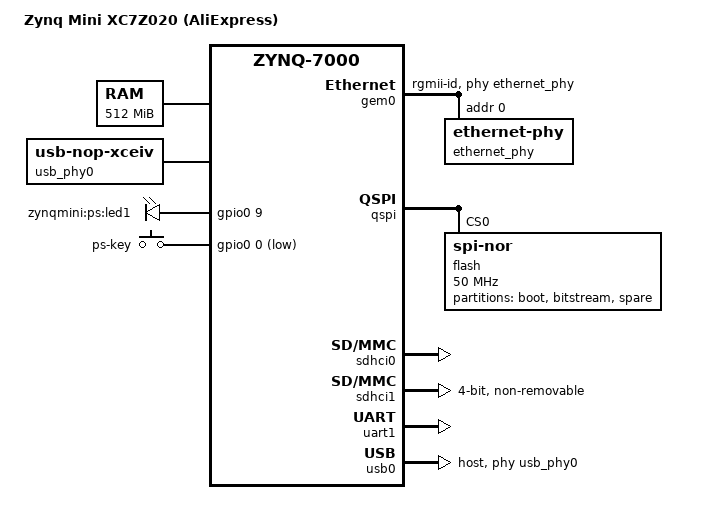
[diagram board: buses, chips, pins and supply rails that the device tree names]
// SPDX-License-Identifier: GPL-2.0
/*
 * Device tree for the AliExpress "Zynq Mini" XC7Z020-CLG400 board.
 *
 * Hand-adapted from arch/arm/boot/dts/xilinx/zynq-zed.dts (Avnet ZedBoard):
 * same SoC, same 512 MB DDR3, same GEM0-RGMII / UART1-console layout. Deltas
 * for this board:
 *   - on-board eMMC on SD1 (sdhci1), 4-bit, non-removable
 *   - Ethernet PHY is an RTL8211E (addr 0) instead of the ZedBoard's 88E1518
 *   - PS LED on MIO9, PS button on MIO0
 *   - axi_regs (this project's VHDL AXI slave) comes from the PL bundle's overlay
 *
 * MIO map: doc/mio_map.md.  PS7 config: scripts/ps7_base_config.tcl.
 * Build/boot instructions: doc/linux_build.md.
 */
/dts-v1/;
/*
 * Buildroot's BR2_LINUX_KERNEL_CUSTOM_DTS_PATH copies this file to
 * arch/arm/boot/dts/ (flat), so include the base dtsi via its vendor subdir.
 */
#include "xilinx/zynq-7000.dtsi"

/ {
	model = "Zynq Mini XC7Z020 (AliExpress)";
	compatible = "aliexpress,zynq-mini", "xlnx,zynq-7000";

	aliases {
		ethernet0 = &gem0;
		serial0 = &uart1;
		spi0 = &qspi;
		mmc0 = &sdhci0;		/* microSD  */
		mmc1 = &sdhci1;		/* eMMC     */
	};

	memory@0 {
		device_type = "memory";
		reg = <0x0 0x20000000>;		/* 512 MB, MT41J256M16 */
	};

	chosen {
		/*
		 * Used when U-Boot boots without bootargs (the JTAG/bootm path).
		 * SD boot takes bootargs from extlinux.conf instead - build-linux.sh
		 * appends the same uio_pdrv_genirq.of_id there. That argument binds
		 * compatible = "generic-uio" nodes (axi_regs) to /dev/uioN.
		 */
		bootargs = "console=ttyPS0,115200 earlycon uio_pdrv_genirq.of_id=generic-uio";
		stdout-path = "serial0:115200n8";
	};

	usb_phy0: phy0 {
		compatible = "usb-nop-xceiv";
		#phy-cells = <0>;
	};

	leds {
		compatible = "gpio-leds";
		ps-led1 {
			label = "zynqmini:ps:led1";
			gpios = <&gpio0 9 0>;		/* MIO9, active high */
			default-state = "off";
		};
	};

	gpio-keys {
		compatible = "gpio-keys";
		autorepeat;
		ps-key {
			label = "ps-key";
			gpios = <&gpio0 0 1>;		/* MIO0, active low */
			linux,code = <0x66>;		/* KEY_HOME */
			wakeup-source;
		};
	};

	/*
	 * No PL devices here: each FPGA design brings its own device-tree overlay
	 * for the zynq-7000.dtsi "fpga-region" (linux/pl/zynq-mini-pl.dtso, part of
	 * the PL bundle), applied by fpgad together with the bitstream. A design
	 * with a different register window therefore needs no new dtb and no
	 * reboot - see doc/network_update.md.
	 */
};

/*
 * Hardware watchdog: fpgad kicks it only after a register read returned, so a
 * design that hangs the bus resets the board (doc/network_update.md). Without
 * reset-on-timeout the Cadence WDT only raises an interrupt ("Internal reset
 * not enabled") and the board stays hung.
 */
&watchdog0 {
	reset-on-timeout;
};

&clkc {
	ps-clk-frequency = <33333333>;
};

&gem0 {
	status = "okay";
	phy-mode = "rgmii-id";			/* RTL8211E supplies the RGMII delays */
	phy-handle = <&ethernet_phy>;

	ethernet_phy: ethernet-phy@0 {
		reg = <0>;			/* MDIO addr 0, MDC/MDIO on MIO 52/53 */
		/*
		 * No PHY reset is routed from the PS on this board (board POR only).
		 * If you wire one to an EMIO GPIO, add: reset-gpios = <&gpio0 N 1>;
		 */
	};
};

&qspi {
	bootph-all;
	status = "okay";
	num-cs = <1>;
	flash@0 {
		compatible = "jedec,spi-nor";
		reg = <0>;
		spi-tx-bus-width = <1>;
		spi-rx-bus-width = <4>;
		spi-max-frequency = <50000000>;
		m25p,fast-read;
		/* 16 MB, socketed SOIC-8 */
		partitions {
			compatible = "fixed-partitions";
			#address-cells = <1>;
			#size-cells = <1>;
			partition@0 {
				label = "boot";		/* boot.bin (SPL + U-Boot) */
				reg = <0x0 0x500000>;
			};
			partition@500000 {
				label = "bitstream";
				reg = <0x500000 0x400000>;
			};
			partition@900000 {
				label = "spare";
				reg = <0x900000 0x700000>;
			};
		};
	};
};

&sdhci0 {					/* microSD socket, MIO 40-45 */
	bootph-all;
	status = "okay";
	disable-wp;
};

&sdhci1 {					/* on-board eMMC, MIO 10-15 */
	status = "okay";
	non-removable;
	disable-wp;
	bus-width = <4>;
	no-sd;
	no-sdio;
};

&uart1 {					/* console, MIO 48/49 */
	bootph-all;
	status = "okay";
};

&usb0 {						/* USB-C host, ULPI PHY (USB3320-class) */
	status = "okay";
	dr_mode = "host";
	usb-phy = <&usb_phy0>;
};
